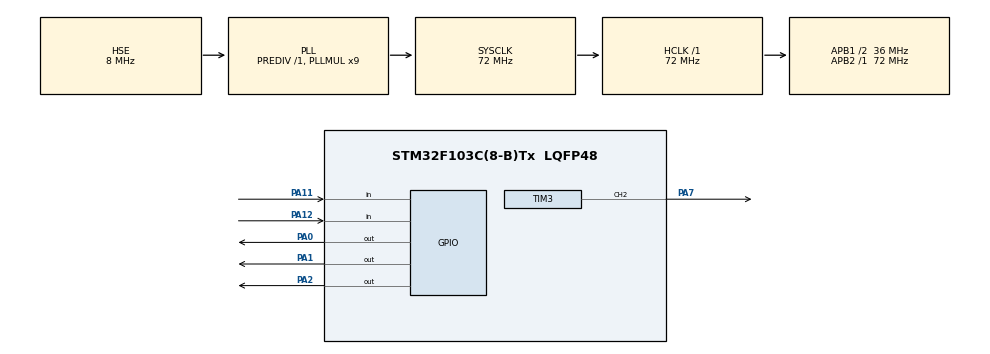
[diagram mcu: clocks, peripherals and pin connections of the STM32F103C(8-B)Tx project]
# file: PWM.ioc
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Mcu.Family=STM32F1
Mcu.Name=STM32F103C(8-B)Tx
Mcu.Package=LQFP48
NVIC.PriorityGroup=NVIC_PRIORITYGROUP_4
PA0-WKUP.Signal=GPIO_Output
PA1.Signal=GPIO_Output
PA11.GPIO_PuPd=GPIO_PULLUP
PA11.Signal=GPIO_Input
PA12.GPIO_PuPd=GPIO_PULLUP
PA12.Signal=GPIO_Input
PA13.Mode=Serial_Wire
PA13.Signal=SYS_JTMS-SWDIO
PA14.Mode=Serial_Wire
PA14.Signal=SYS_JTCK-SWCLK
PA2.Signal=GPIO_Output
PA7.Signal=S_TIM3_CH2
PD0-OSC_IN.Mode=HSE-External-Oscillator
PD0-OSC_IN.Signal=RCC_OSC_IN
PD1-OSC_OUT.Mode=HSE-External-Oscillator
PD1-OSC_OUT.Signal=RCC_OSC_OUT
ProjectManager.HeapSize=0x200
ProjectManager.StackSize=0x400
ProjectManager.TargetToolchain=MDK-ARM V5
RCC.AHBFreq_Value=72000000
RCC.APB1CLKDivider=RCC_HCLK_DIV2
RCC.APB1Freq_Value=36000000
RCC.APB1TimFreq_Value=72000000
RCC.APB2Freq_Value=72000000
RCC.APB2TimFreq_Value=72000000
RCC.HCLKFreq_Value=72000000
RCC.PLLMUL=RCC_PLL_MUL9
RCC.PLLSourceVirtual=RCC_PLLSOURCE_HSE
RCC.SYSCLKFreq_VALUE=72000000
RCC.SYSCLKSource=RCC_SYSCLKSOURCE_PLLCLK
RCC.USBFreq_Value=72000000
SH.S_TIM3_CH2.0=TIM3_CH2,PWM Generation2 CH2
TIM3.Channel-PWM\ Generation2\ CH2=TIM_CHANNEL_2
TIM3.Period=9999
TIM3.Prescaler=72-1
TIM3.Pulse-PWM\ Generation2\ CH2=3333
VP_TIM3_VS_ClockSourceINT.Mode=Internal
board=custom

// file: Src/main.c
/* USER CODE BEGIN Header */
/**
  ******************************************************************************
  * @file           : main.c
  * @brief          : Main program body
  ******************************************************************************
  * @attention
  *
  * <h2><center>&copy; Copyright (c) 2019 STMicroelectronics.
  * All rights reserved.</center></h2>
  *
  * This software component is licensed by ST under BSD 3-Clause license,
  * the "License"; You may not use this file except in compliance with the
  * License. You may obtain a copy of the License at:
  *                        opensource.org/licenses/BSD-3-Clause
  *
  ******************************************************************************
  */
/* USER CODE END Header */

#include "main.h"
#include "tim.h"
#include "gpio.h"

/* USER CODE BEGIN Includes */
#include "max7219.h"
//#include "key.h"
#include "pid.h"
/* USER CODE END Includes */

void SystemClock_Config(void);

/* USER CODE BEGIN 0 */
extern int i;
/* USER CODE END 0 */

int main(void)
{
  /* USER CODE BEGIN 1 */
int count=0;

  /* USER CODE END 1 */

  /* MCU Configuration--------------------------------------------------------*/

  /* Reset of all peripherals, Initializes the Flash interface and the Systick. */
  HAL_Init();

  /* Configure the system clock */
  SystemClock_Config();

  /* Initialize all configured peripherals */
  MX_GPIO_Init();
  MX_TIM3_Init();

  /* USER CODE BEGIN 2 */
HAL_Delay(1000);
 Init_MAX7219();
 HAL_Delay(1000);
 PID_init();

	HAL_TIM_PWM_Start(&htim3,TIM_CHANNEL_2);
  /* USER CODE END 2 */

  /* Infinite loop */
  while (1)
  {

    /* USER CODE BEGIN 3 */

		if(count<2000){

			float speed=PID_realize(1600.0);
      //  printf("%f\n",speed);
      count++;
			__HAL_TIM_SET_COMPARE(&htim3,TIM_CHANNEL_2,speed);

		}

		//key_scan();

		Write_Max7219_1(4,10);

		Write_Max7219_1(3,10);

		Write_Max7219_1(2,10);
		Write_Max7219_1(1,10);

  }
  /* USER CODE END 3 */
}

void SystemClock_Config(void)
{
  RCC_OscInitTypeDef RCC_OscInitStruct = {0};
  RCC_ClkInitTypeDef RCC_ClkInitStruct = {0};

  /** Initializes the CPU, AHB and APB busses clocks
  */
  RCC_OscInitStruct.OscillatorType = RCC_OSCILLATORTYPE_HSE;
  RCC_OscInitStruct.HSEState = RCC_HSE_ON;
  RCC_OscInitStruct.HSEPredivValue = RCC_HSE_PREDIV_DIV1;
  RCC_OscInitStruct.HSIState = RCC_HSI_ON;
  RCC_OscInitStruct.PLL.PLLState = RCC_PLL_ON;
  RCC_OscInitStruct.PLL.PLLSource = RCC_PLLSOURCE_HSE;
  RCC_OscInitStruct.PLL.PLLMUL = RCC_PLL_MUL9;
  if (HAL_RCC_OscConfig(&RCC_OscInitStruct) != HAL_OK)
  {
    Error_Handler();
  }
  /** Initializes the CPU, AHB and APB busses clocks
  */
  RCC_ClkInitStruct.ClockType = RCC_CLOCKTYPE_HCLK|RCC_CLOCKTYPE_SYSCLK
                              |RCC_CLOCKTYPE_PCLK1|RCC_CLOCKTYPE_PCLK2;
  RCC_ClkInitStruct.SYSCLKSource = RCC_SYSCLKSOURCE_PLLCLK;
  RCC_ClkInitStruct.AHBCLKDivider = RCC_SYSCLK_DIV1;
  RCC_ClkInitStruct.APB1CLKDivider = RCC_HCLK_DIV2;
  RCC_ClkInitStruct.APB2CLKDivider = RCC_HCLK_DIV1;

  if (HAL_RCC_ClockConfig(&RCC_ClkInitStruct, FLASH_LATENCY_2) != HAL_OK)
  {
    Error_Handler();
  }
}

void Error_Handler(void)
{
}

/************************ (C) COPYRIGHT STMicroelectronics *****END OF FILE****/
